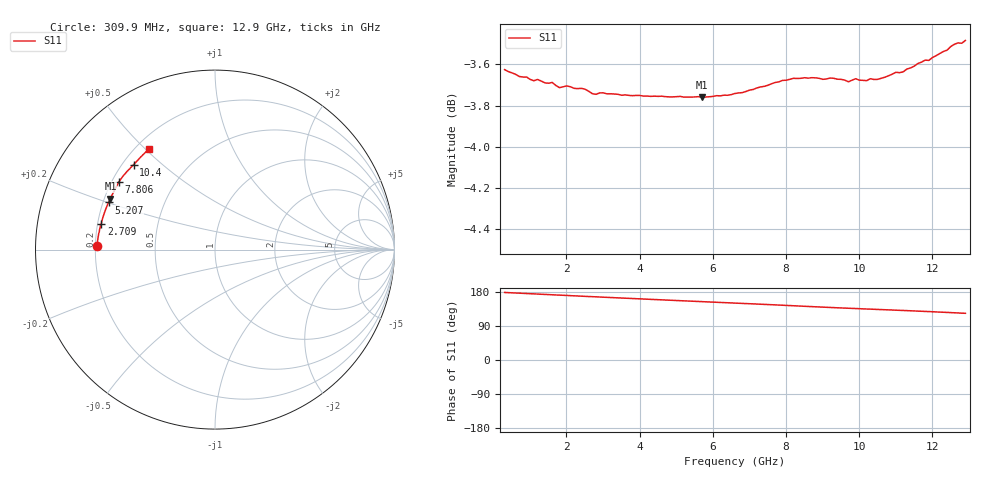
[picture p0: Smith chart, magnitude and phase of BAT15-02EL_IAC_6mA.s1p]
! Infineon Technologies  Discrete & RF Semiconductors
! BAT15-02EL
! IAC = 6 mA
! One-Port S-Parameters
# Hz  S  MA  R  50
!f  S11
!Hz  Mag  Ang
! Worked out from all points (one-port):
!   127 points, 309.9 MHz to 12.9 GHz, reference 50 ohm
!   lowest |S11| = -3.8 dB at 5.707 GHz (marker M1), VSWR 4.69, Z = 11.2 + j11 ohm
!   |S11| at or under -10 dB: nowhere
!   S11 on the Smith chart (normalised r, x): 309.9 MHz: 0.21, +0.01; 2.709 GHz: 0.21, +0.11; 5.207 GHz: 0.22, +0.20; 7.806 GHz: 0.23, +0.30; 10.4 GHz: 0.24, +0.40; 12.9 GHz: 0.25, +0.51
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3.0985e8  0.6588 178.2
1.10945e9  0.6547 174.5
1.2094e9  0.6552 174.0
1.6092e9  0.6541 172.1
1.70915e9  0.653 171.6
1.90905e9  0.6525 170.8
2.4088e9  0.6519 168.4
2.70865e9  0.65 167.1
3.0085e9  0.6503 165.8
3.50825e9  0.6494 163.5
4.008e9  0.6493 161.4
5.10745e9  0.649 156.5
5.2074e9  0.6487 156.1
5.70715e9  0.6486 154.0
6.6067e9  0.6501 150.1
7.2064e9  0.6521 147.6
7.8061e9  0.6543 145.0
8.2059e9  0.6556 143.2
8.50575e9  0.6558 141.7
9.10545e9  0.6554 139.1
9.8051e9  0.6549 136.2
1.04048e10  0.6552 133.8
1.14043e10  0.6594 129.9
1.16042e10  0.6611 129.0
1.2004e10  0.6633 127.4
1.26037e10  0.6682 124.6
1.28036e10  0.6686 123.6
1.290355e10  0.6696 123.2
